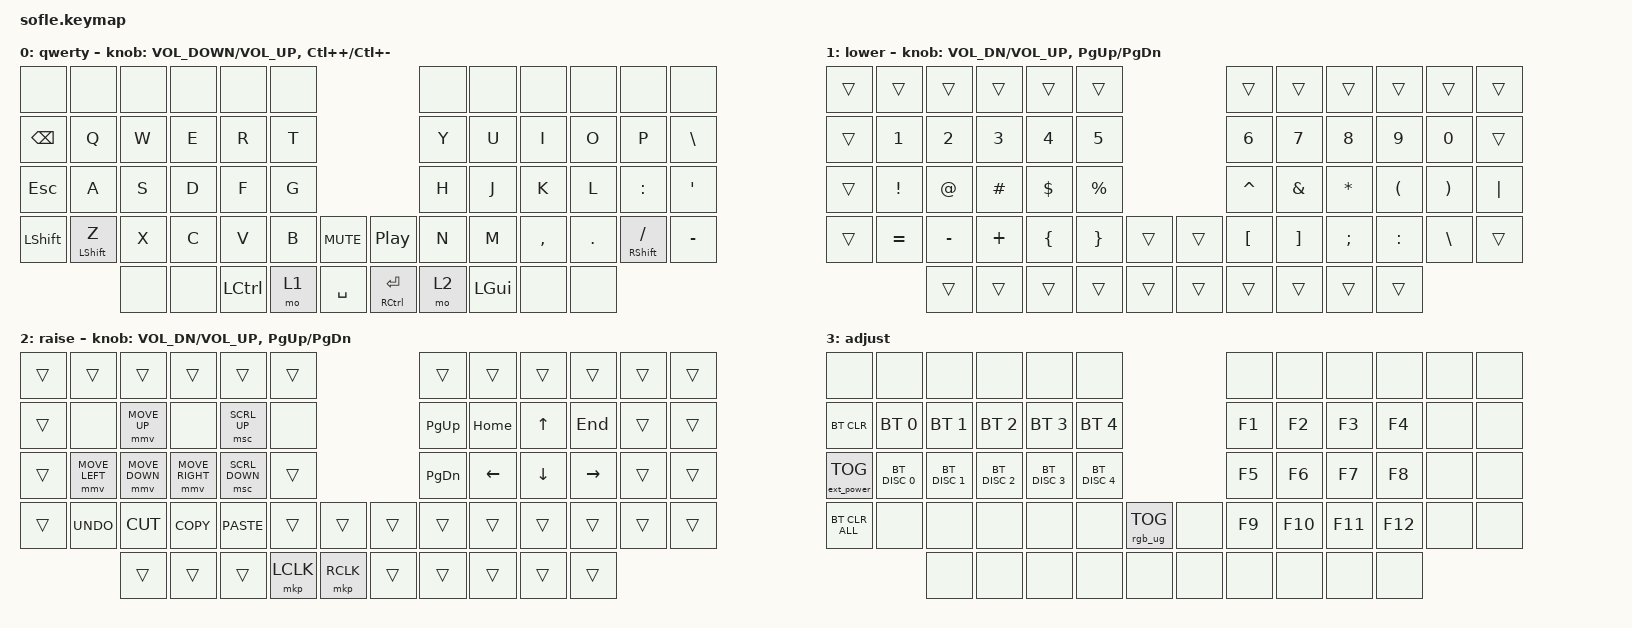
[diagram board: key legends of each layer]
/*
 * Copyright (c) 2020 The ZMK Contributors
 *
 * SPDX-License-Identifier: MIT
 */

#define ZMK_POINTING_DEFAULT_MOVE_VAL 600  // default: 600
#define ZMK_POINTING_DEFAULT_SCRL_VAL 10    // default: 10

#include <behaviors.dtsi>
#include <dt-bindings/zmk/bt.h>
#include <dt-bindings/zmk/ext_power.h>
#include <dt-bindings/zmk/keys.h>
#include <dt-bindings/zmk/pointing.h>
#include <dt-bindings/zmk/rgb.h>

#define BASE 0
#define LOWER 1
#define RAISE 2
#define ADJUST 3

/ {
    // Activate ADJUST layer by pressing raise and lower

    conditional_layers {
        compatible = "zmk,conditional-layers";

        adjust_layer {
            if-layers = <1 2>;
            then-layer = <3>;
        };
    };

    behaviors {
        hml: hml {
            compatible = "zmk,behavior-hold-tap";
            label = "HML";
            bindings = <&kp>, <&kp>;

            #binding-cells = <2>;
            tapping-term-ms = <200>;    // Reduzido para 200ms para maior agilidade
            quick-tap-ms = <175>;
            require-prior-idle-ms = <175>;
            flavor = "tap-preferred";        // Resolve o tap no release (sem delay)
            retro-tap;                  // Envia a letra se segurar e soltar sem outra tecla
            hold-trigger-on-release;
            hold-trigger-key-positions = <6 7 9 10 11 18 19 20 21 22 23 30 31 32 33 34 35 44 45 46 47 48 49 56 57 58 59 43 55 50 51 52 53 54 42 8>;
        };

        hmr: hmr {
            compatible = "zmk,behavior-hold-tap";
            label = "HMR";
            bindings = <&kp>, <&kp>;

            #binding-cells = <2>;
            tapping-term-ms = <200>;    // Reduzido para 200ms
            quick-tap-ms = <175>;
            require-prior-idle-ms = <175>;
            flavor = "tap-preferred";        // Resolve o tap no release
            retro-tap;                  // Envia a letra se segurar e soltar sem outra tecla
            hold-trigger-on-release;
            hold-trigger-key-positions = <0 1 2 3 4 5 12 13 14 15 16 17 24 25 26 27 28 29 36 37 38 39 40 41 42 50 51 52 53 54 55 56 57 58 59>;
        };
    };

    combos {
        compatible = "zmk,combos";

        backstick {
            bindings = <&kp GRAVE>;
            key-positions = <14 15>;
        };

        delete {
            bindings = <&kp DELETE>;
            key-positions = <29 28>;
        };

        // ESCAPE: S + D
        // BACKSPACE: U + I
        // BACKSLASH (\): D + F
        // SINGLE QUOTE ('): K + L

        combo_sqt {
            timeout-ms = <50>;
            key-positions = <32 33>;
            bindings = <&kp SQT>;
        };

        // MINUS (-): C + V

        combo_minus {
            timeout-ms = <50>;
            key-positions = <46 45>;
            bindings = <&kp PLUS>;
        };

        // MINUS (-): C + V

        combo_plus {
            timeout-ms = <50>;
            key-positions = <47 46>;
            bindings = <&kp MINUS>;
        };

        // TAB: W + E

        combo_tab {
            timeout-ms = <50>;
            key-positions = <15 16>;
            bindings = <&kp TAB>;
        };

        holdgui {
            bindings = <&kp LEFT_GUI>;
            key-positions = <41 40>;
        };

        ralt {
            bindings = <&sk RIGHT_ALT>;
            key-positions = <44 45>;
        };

        jk_esc {
            bindings = <&kp ESCAPE>;
            key-positions = <31 32>;
        };

        equal {
            bindings = <&kp EQUAL>;
            key-positions = <48 47>;
        };

        backspace {
            bindings = <&kp BACKSPACE>;
            key-positions = <27 28>;
        };
    };

    keymap {
        compatible = "zmk,keymap";

        qwerty {
            bindings = <
&none          &none              &none  &none  &none             &none                                  &none  &none         &none      &none       &none                   &none
&kp BACKSPACE  &kp Q              &kp W  &kp E  &kp R             &kp T                                  &kp Y  &kp U         &kp I      &kp O       &kp P                   &kp BACKSLASH
&kp ESCAPE     &kp A              &kp S  &kp D  &kp F             &kp G                                  &kp H  &kp J         &kp K      &kp L       &kp COLON               &kp SINGLE_QUOTE
&kp LSHFT      &hml LEFT_SHIFT Z  &kp X  &kp C  &kp V             &kp B  &kp C_MUTE    &kp C_PLAY_PAUSE  &kp N  &kp M         &kp COMMA  &kp PERIOD  &hmr RIGHT_SHIFT SLASH  &kp MINUS
                                  &none  &none  &kp LEFT_CONTROL  &mo 1  &kp SPACE     &mt RCTRL ENTER   &mo 2  &kp LEFT_GUI  &none      &none
            >;

            sensor-bindings =
                <&inc_dec_kp C_VOLUME_DOWN C_VOLUME_UP>,
                <&inc_dec_kp LC(PLUS) LC(MINUS)>;
        };

        lower_layer {
            display-name = "lower";

            // TODO: Some binds are waiting for shifted keycode support.
            // ------------------------------------------------------------------------------------------------------------
            // |       |  F1 |  F2 |  F3  |  F4  |  F5  |                   |  F6  |  F7   |  F8   |  F9  |  F10  |  F11  |
            // |   `   |  1  |  2  |  3   |  4   |  5   |                   |  6   |  7    |  8    |  9   |   0   |  F12  |
            // |       |  !  |  @  |  #   |  $   |  %   |                   |  ^   |  &    |  *    |  (   |   )   |   |   |
            // |       |  =  |  -  |  +   |  {   |  }   |        |  |       |  [   |  ]    |  ;    |  :   |   \   |       |
            //               |     |      |      |      |        |  |       |      |       |       |      |

            bindings = <
&trans  &trans     &trans     &trans    &trans    &trans                       &trans     &trans    &trans     &trans     &trans    &trans
&trans  &kp N1     &kp N2     &kp N3    &kp N4    &kp N5                       &kp N6     &kp N7    &kp N8     &kp N9     &kp N0    &trans
&trans  &kp EXCL   &kp AT     &kp HASH  &kp DLLR  &kp PRCNT                    &kp CARET  &kp AMPS  &kp ASTRK  &kp LPAR   &kp RPAR  &kp PIPE
&trans  &kp EQUAL  &kp MINUS  &kp PLUS  &kp LBRC  &kp RBRC   &trans    &trans  &kp LBKT   &kp RBKT  &kp SEMI   &kp COLON  &kp BSLH  &trans
                   &trans     &trans    &trans    &trans     &trans    &trans  &trans     &trans    &trans     &trans
            >;

            sensor-bindings = <&inc_dec_kp C_VOL_DN C_VOL_UP &inc_dec_kp PG_UP PG_DN>;
        };

        raise_layer {
            display-name = "raise";

            // ------------------------------------------------------------------------------------------------------------
            // | BTCLR | BT1  | BT2  |  BT3  |  BT4  |  BT5 |                |      |      |       |      |       |       |
            // |       | INS  | PSCR | GUI   |       |      |                | PGUP |      |   ^   |      |       |       |
            // |       | ALT  | CTRL | SHIFT |       | CAPS |                | PGDN |   <- |   v   |  ->  |  DEL  | BKSPC |
            // |       | UNDO | CUT  | COPY  | PASTE |      |      |  |      |      |      |       |      |       |       |
            //                |      |       |       |      |      |  |      |      |      |       |      |

            bindings = <
&trans  &trans          &trans          &trans           &trans          &trans                          &trans     &trans    &trans    &trans     &trans  &trans
&trans  &none           &mmv MOVE_UP    &none            &msc SCRL_UP    &none                           &kp PG_UP  &kp HOME  &kp UP    &kp END    &trans  &trans
&trans  &mmv MOVE_LEFT  &mmv MOVE_DOWN  &mmv MOVE_RIGHT  &msc SCRL_DOWN  &trans                          &kp PG_DN  &kp LEFT  &kp DOWN  &kp RIGHT  &trans  &trans
&trans  &kp K_UNDO      &kp K_CUT       &kp K_COPY       &kp K_PASTE     &trans     &trans       &trans  &trans     &trans    &trans    &trans     &trans  &trans
                        &trans          &trans           &trans          &mkp LCLK  &mkp RCLK    &trans  &trans     &trans    &trans    &trans
            >;

            sensor-bindings = <&inc_dec_kp C_VOL_DN C_VOL_UP &inc_dec_kp PG_UP PG_DN>;
        };

        adjust_layer {
            // ----------------------------------------------------------------------------------------------------------------------------
            // | BTCLR  |  BT1    |  BT2    |   BT3   |   BT4   |   BT5   |                  |      |      |       |      |       |       |
            // | EXTPWR | RGB_HUD | RGB_HUI | RGB_SAD | RGB_SAI | RGB_EFF |                  |      |      |       |      |       |       |
            // |        | RGB_BRD | RGB_BRI |         |         |         |                  |      |      |       |      |       |       |
            // |        |         |         |         |         |         | RGB_TOG | |      |      |      |       |      |       |       |
            //                    |         |         |         |         |         | |      |      |      |       |      |

            display-name = "adjust";
            bindings = <
&none              &none          &none          &none          &none          &none                                    &none   &none    &none    &none    &none  &none
&bt BT_CLR         &bt BT_SEL 0   &bt BT_SEL 1   &bt BT_SEL 2   &bt BT_SEL 3   &bt BT_SEL 4                             &kp F1  &kp F2   &kp F3   &kp F4   &none  &none
&ext_power EP_TOG  &bt BT_DISC 0  &bt BT_DISC 1  &bt BT_DISC 2  &bt BT_DISC 3  &bt BT_DISC 4                            &kp F5  &kp F6   &kp F7   &kp F8   &none  &none
&bt BT_CLR_ALL     &none          &none          &none          &none          &none          &rgb_ug RGB_TOG    &none  &kp F9  &kp F10  &kp F11  &kp F12  &none  &none
                                  &none          &none          &none          &none          &none              &none  &none   &none    &none    &none
            >;
        };
    };
};
